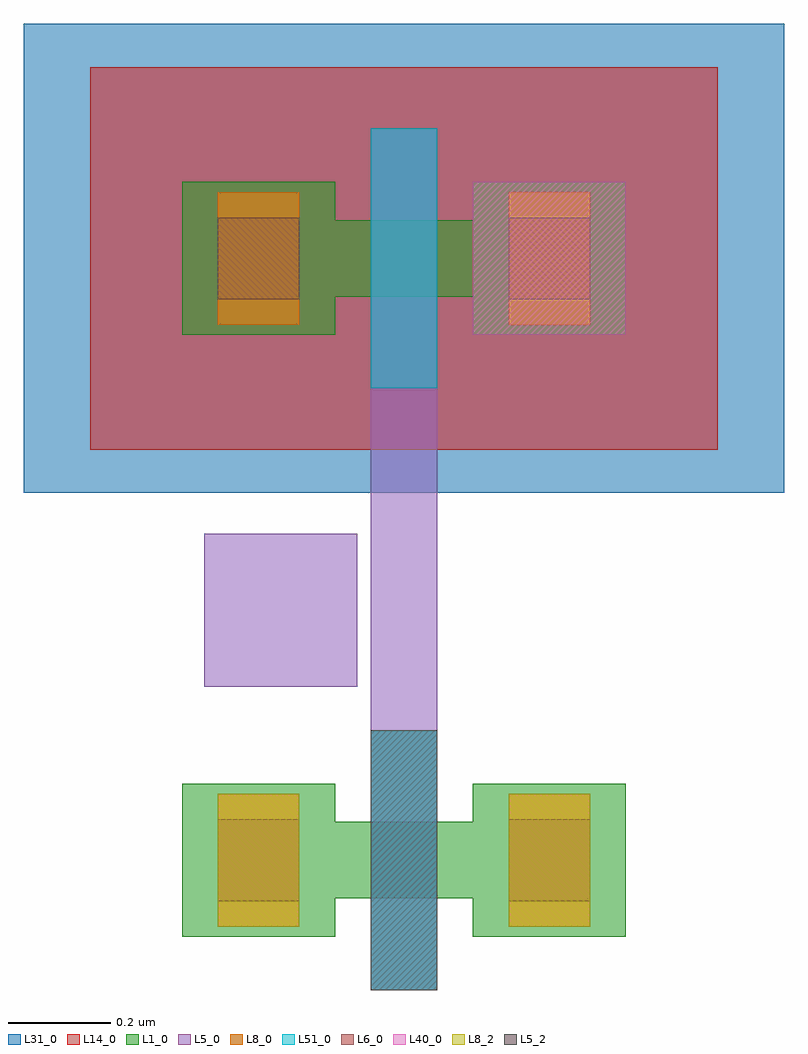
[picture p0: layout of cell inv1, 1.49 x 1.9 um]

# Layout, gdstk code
import gdstk
lib = gdstk.Library(unit=1e-6, precision=1e-09)
def R(c, l, rs):  # rectangles x0, y0, x1, y1
    for r in rs: c.add(gdstk.rectangle(r[:2], r[2:], *l))
L1_0 = (1, 0)
L5_0 = (5, 0)
L5_2 = (5, 2)
L6_0 = (6, 0)
L8_0 = (8, 0)
L8_2 = (8, 2)
L14_0 = (14, 0)
L31_0 = (31, 0)
L40_0 = (40, 0)
L51_0 = (51, 0)

nmos = lib.new_cell('nmos')
R(nmos, L1_0, [(0,0,0.3,0.3), (0.57,0,0.87,0.3), (0,0.075,0.87,0.225)])
R(nmos, L5_0, [(0.37,-0.105,0.5,0.405)])
R(nmos, L5_2, [(0.37,-0.105,0.5,0.405)])
R(nmos, L6_0, [(0.07,0.07,0.23,0.23), (0.64,0.07,0.8,0.23)])
R(nmos, L8_0, [(0.07,0.02,0.23,0.28), (0.64,0.02,0.8,0.28)])
R(nmos, L8_2, [(0.07,0.02,0.23,0.28), (0.64,0.02,0.8,0.28)])
R(nmos, L51_0, [(0.37,-0.105,0.5,0.405)])
nmos.add(gdstk.Label('nmos', (0.435,0.15), layer=63, texttype=0))
nmos.add(gdstk.Label('nmos', (0.435,0.15), layer=51, texttype=0))

pmos = lib.new_cell('pmos')
R(pmos, L1_0, [(0,0,0.3,0.3), (0.57,0,0.87,0.3), (0,0.075,0.87,0.225)])
R(pmos, L5_0, [(0.37,-0.105,0.5,0.405), (0.37,-0.105,0.5,0.405)])
R(pmos, L6_0, [(0.07,0.07,0.23,0.23), (0.64,0.07,0.8,0.23)])
R(pmos, L8_0, [(0.07,0.02,0.23,0.28), (0.07,0.02,0.23,0.28), (0.64,0.02,0.8,0.28), (0.64,0.02,0.8,0.28)])
R(pmos, L14_0, [(-0.18,-0.225,1.05,0.525)])
R(pmos, L31_0, [(-0.31,-0.31,1.18,0.61)])
R(pmos, L40_0, [(0.57,0,0.87,0.3)])
R(pmos, L51_0, [(0.37,-0.105,0.5,0.405)])
pmos.add(gdstk.Label('pmos', (0.435,0.15), layer=63, texttype=0))
pmos.add(gdstk.Label('pmos', (0.435,0.15), layer=51, texttype=0))

inv1 = lib.new_cell('inv1')
R(inv1, L5_0, [(1.95,0.745,2.08,2.435), (1.623,1.34,1.923,1.64)])
inv1.add(gdstk.Reference(nmos, (1.58,0.85)))
inv1.add(gdstk.Reference(pmos, (1.58,2.03)))

lib.write_gds('inv1.gds')
